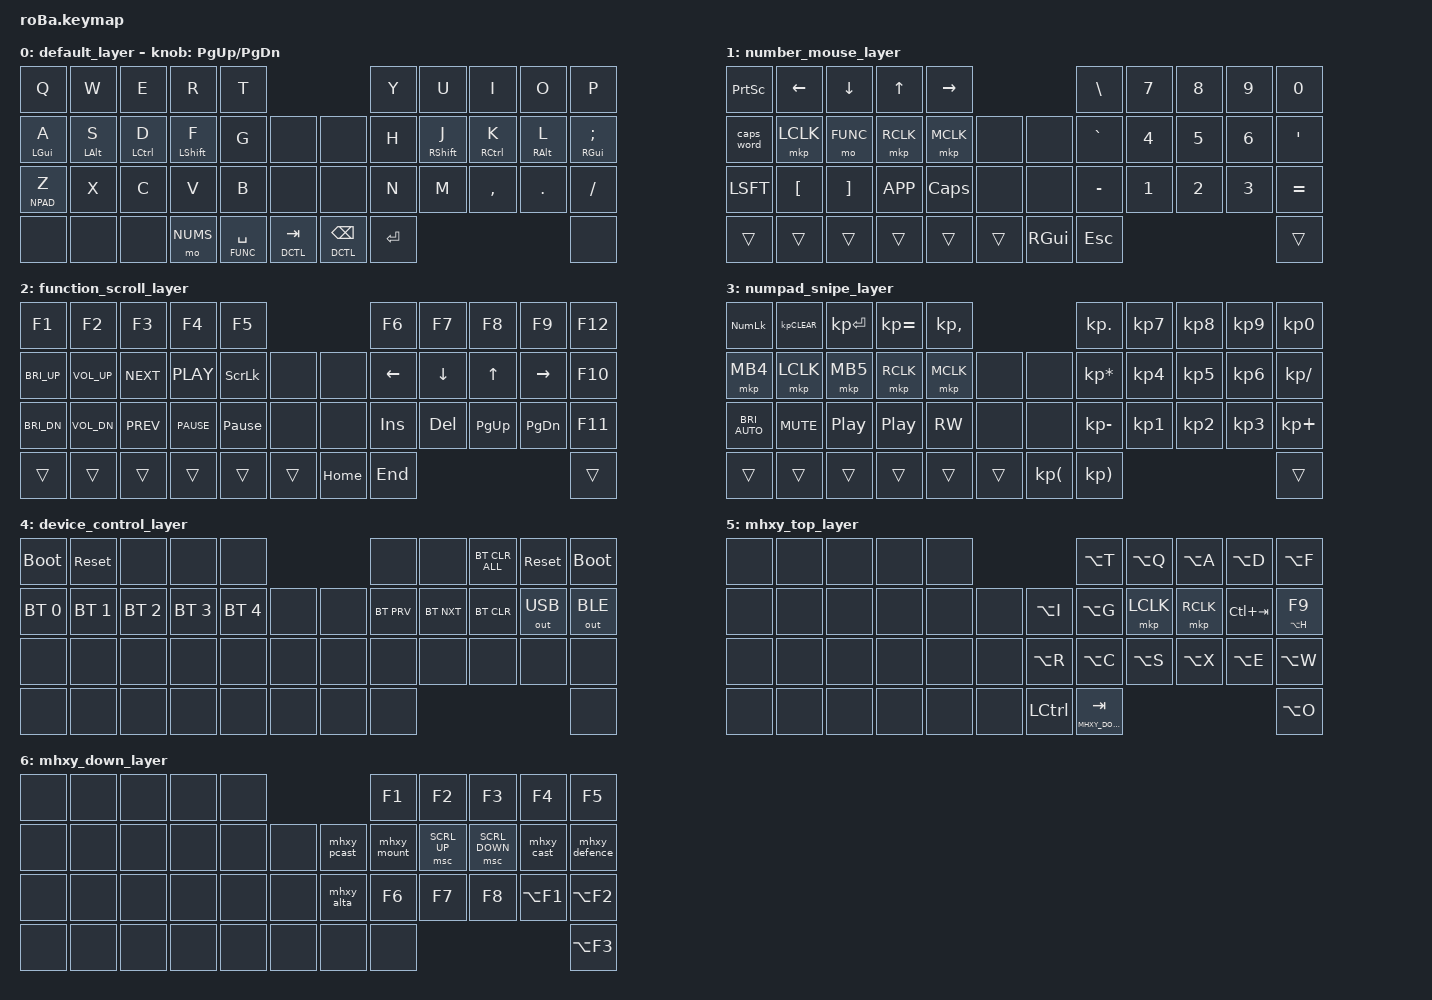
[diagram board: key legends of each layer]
#include <behaviors.dtsi>
#include <dt-bindings/zmk/bt.h>
#include <dt-bindings/zmk/keys.h>
#include <dt-bindings/zmk/outputs.h>
#include <dt-bindings/zmk/pointing.h>
#include <dt-bindings/zmk/mouse.h>

#define DFLT 0
#define NUMS 1
#define FUNC 2
#define NPAD 3
#define DCTL 4
#define MHXY_TOP 5
#define MHXY_DOWN 6

&mt {
   flavor = "tap-preferred";
   tapping_term_ms = <200>;
   quick-tap-ms= <200>;
};

&lt {
   flavor = "tap-preferred";
   tapping_term_ms = <200>;
   quick-tap-ms= <200>;
};

&trackball {
    scroll-layers = <FUNC>;
    snipe-layers = <NPAD>;
    // automouse-layer = <4>;

    // arrows {
    //     layers = <3>;
    //     bindings =
    //         <&kp RIGHT_ARROW>,
    //         <&kp LEFT_ARROW>,
    //         <&kp UP_ARROW>,
    //         <&kp DOWN_ARROW>;
    //     tick = <10>;
    //     wait-ms = <5>;
    //     tap-ms = <5>;
    // };
};

/ {
    combos {
        compatible = "zmk,combos";

        tab {
            bindings = <&kp TAB>;
            key-positions = <11 12>;
        };

        shift_tab {
            bindings = <&kp LS(TAB)>;
            key-positions = <12 13>;
        };

        mhxy_mode {
            bindings = <&tog MHXY_TOP>;
            key-positions = <16 28>;
        };
    };

    macros {
        mhxy_cast: mhxy_cast {
            compatible = "zmk,behavior-macro";
            #binding-cells = <0>;
            wait-ms = <39>;
            tap-ms = <39>;
            bindings
                = <&kp LA(Q) &kp LA(Q) &kp LC(TAB)>
                , <&kp LA(Q) &kp LA(Q) &kp LC(TAB)>
                , <&kp LA(Q) &kp LA(Q) &kp LC(TAB)>
                , <&kp LA(Q) &kp LA(Q) &kp LC(TAB)>
                , <&kp LA(Q) &kp LA(Q) &kp LC(TAB)>
                ;
        };

        mhxy_defence: mhxy_defence {
            compatible = "zmk,behavior-macro";
            #binding-cells = <0>;
            wait-ms = <39>;
            tap-ms = <39>;
            bindings
                = <&kp LA(D) &kp LA(D) &kp LC(TAB)>
                , <&kp LA(D) &kp LA(D) &kp LC(TAB)>
                , <&kp LA(D) &kp LA(D) &kp LC(TAB)>
                , <&kp LA(D) &kp LA(D) &kp LC(TAB)>
                , <&kp LA(D) &kp LA(D) &kp LC(TAB)>
                ;
        };

        mhxy_pcast: mhxy_pcast {
            compatible = "zmk,behavior-macro";
            #binding-cells = <0>;
            wait-ms = <39>;
            tap-ms = <39>;
            bindings
                = <&kp LA(D) &kp LA(D) &kp LC(TAB)>
                , <&kp LA(D) &kp LA(D) &kp LC(TAB)>
                , <&kp LA(Q) &kp LA(D) &kp LC(TAB)>
                , <&kp LA(D) &kp LA(D) &kp LC(TAB)>
                , <&kp LA(Q) &kp LA(D) &kp LC(TAB)>
                ;
        };

        mhxy_mount: mhxy_mount {
            compatible = "zmk,behavior-macro";
            #binding-cells = <0>;
            wait-ms = <39>;
            tap-ms = <39>;
            bindings
                = <&kp F6 &kp LC(TAB)>
                , <&kp F6 &kp LC(TAB)>
                , <&kp F6 &kp LC(TAB)>
                , <&kp F6 &kp LC(TAB)>
                , <&kp F6 &kp LC(TAB)>
                ;
        };

        mhxy_alta: mhxy_alta {
            compatible = "zmk,behavior-macro";
            #binding-cells = <0>;
            wait-ms = <39>;
            tap-ms = <39>;
            bindings
                = <&kp LA(A) &mkp LCLK>
                , <&kp LA(A) &mkp LCLK>
                ;
        };
    };

    keymap {
        compatible = "zmk,keymap";

        default_layer {
            bindings = <
                &kp Q            &kp W            &kp E            &kp R            &kp T                                                  &kp Y            &kp U            &kp I            &kp O            &kp P
                &mt LGUI A       &mt LALT S       &mt LCTRL D      &mt LSHFT F      &kp G            &none             &none               &kp H            &mt RSHFT J      &mt RCTRL K      &mt RALT L       &mt RGUI SEMI
                &lt NPAD Z       &kp X            &kp C            &kp V            &kp B            &none             &none               &kp N            &kp M            &kp COMMA        &kp DOT          &kp FSLH
                &none            &none            &none            &mo NUMS         &lt FUNC SPACE   &lt DCTL TAB      &lt DCTL BKSP       &kp ENTER                                                           &none
            >;

            sensor-bindings = <&inc_dec_kp PG_UP PAGE_DOWN>;
        };

        number_mouse_layer {
            bindings = <
                &kp PSCRN        &kp LEFT         &kp DOWN         &kp UP           &kp RIGHT                                              &kp BSLH         &kp N7           &kp N8           &kp N9           &kp N0
                &caps_word       &mkp LCLK        &mo FUNC         &mkp RCLK        &mkp MCLK        &none             &none               &kp GRAVE        &kp N4           &kp N5           &kp N6           &kp APOS
                &kp LSFT         &kp LBKT         &kp RBKT         &kp K_APP        &kp CAPS         &none             &none               &kp MINUS        &kp N1           &kp N2           &kp N3           &kp EQUAL
                &trans           &trans           &trans           &trans           &trans           &trans            &kp RGUI            &kp ESC                                                             &trans
            >;
        };

        function_scroll_layer {
            bindings = <
                &kp F1           &kp F2           &kp F3           &kp F4           &kp F5                                                 &kp F6           &kp F7           &kp F8           &kp F9           &kp F12
                &kp C_BRI_UP     &kp C_VOL_UP     &kp C_NEXT       &kp C_PLAY       &kp SLCK         &none             &none               &kp LEFT         &kp DOWN         &kp UP           &kp RIGHT        &kp F10
                &kp C_BRI_DN     &kp C_VOL_DN     &kp C_PREV       &kp C_PAUSE      &kp PAUSE_BREAK  &none             &none               &kp INS          &kp DEL          &kp PG_UP        &kp PG_DN        &kp F11
                &trans           &trans           &trans           &trans           &trans           &trans            &kp HOME            &kp END                                                             &trans
            >;
        };

        numpad_snipe_layer {
            bindings = <
                &kp KP_NLCK      &kp KP_CLEAR     &kp KP_ENTER     &kp KP_EQUAL     &kp KP_COMMA                                           &kp KP_DOT       &kp KP_N7        &kp KP_N8        &kp KP_N9        &kp KP_N0
                &mkp MB4         &mkp LCLK        &mkp MB5         &mkp RCLK        &mkp MCLK        &none             &none               &kp KP_MULTIPLY  &kp KP_N4        &kp KP_N5        &kp KP_N6        &kp KP_DIVIDE
                &kp C_BRI_AUTO   &kp C_MUTE       &kp C_PP         &kp C_PLAY_PAUSE &kp C_RW         &none             &none               &kp KP_MINUS     &kp KP_N1        &kp KP_N2        &kp KP_N3        &kp KP_PLUS
                &trans           &trans           &trans           &trans           &trans           &trans            &kp KP_LPAR         &kp KP_RPAR                                                         &trans
            >;
        };
         
        device_control_layer {
            bindings = <
                &bootloader      &sys_reset       &none            &none            &none                                                  &none            &none            &bt BT_CLR_ALL   &sys_reset       &bootloader
                &bt BT_SEL 0     &bt BT_SEL 1     &bt BT_SEL 2     &bt BT_SEL 3     &bt BT_SEL 4     &none             &none               &bt BT_PRV       &bt BT_NXT       &bt BT_CLR       &out OUT_USB     &out OUT_BLE
                &none            &none            &none            &none            &none            &none             &none               &none            &none            &none            &none            &none 
                &none            &none            &none            &none            &none            &none             &none               &none                                                               &none
            >;
        };
         
        mhxy_top_layer {
            bindings = <
                &none            &none            &none            &none            &none                                                  &kp LA(T)        &kp LA(Q)        &kp LA(A)        &kp LA(D)        &kp LA(F)
                &none            &none            &none            &none            &none            &none             &kp LA(I)           &kp LA(G)        &mkp LCLK        &mkp RCLK        &kp LC(TAB)      &mt LA(H) F9
                &none            &none            &none            &none            &none            &none             &kp LA(R)           &kp LA(C)        &kp LA(S)        &kp LA(X)        &kp LA(E)        &kp LA(W)
                &none            &none            &none            &none            &none            &none             &kp LCTRL           &lt MHXY_DOWN TAB                                                   &kp LA(O)
            >;
        };
         
        mhxy_down_layer {
            bindings = <
                &none            &none            &none            &none            &none                                                  &kp F1           &kp F2           &kp F3           &kp F4           &kp F5
                &none            &none            &none            &none            &none            &none             &mhxy_pcast         &mhxy_mount      &msc SCRL_UP     &msc SCRL_DOWN   &mhxy_cast       &mhxy_defence
                &none            &none            &none            &none            &none            &none             &mhxy_alta          &kp F6           &kp F7           &kp F8           &kp LA(F1)       &kp LA(F2)
                &none            &none            &none            &none            &none            &none             &none               &none                                                               &kp LA(F3)
            >;
        };
    };
};
